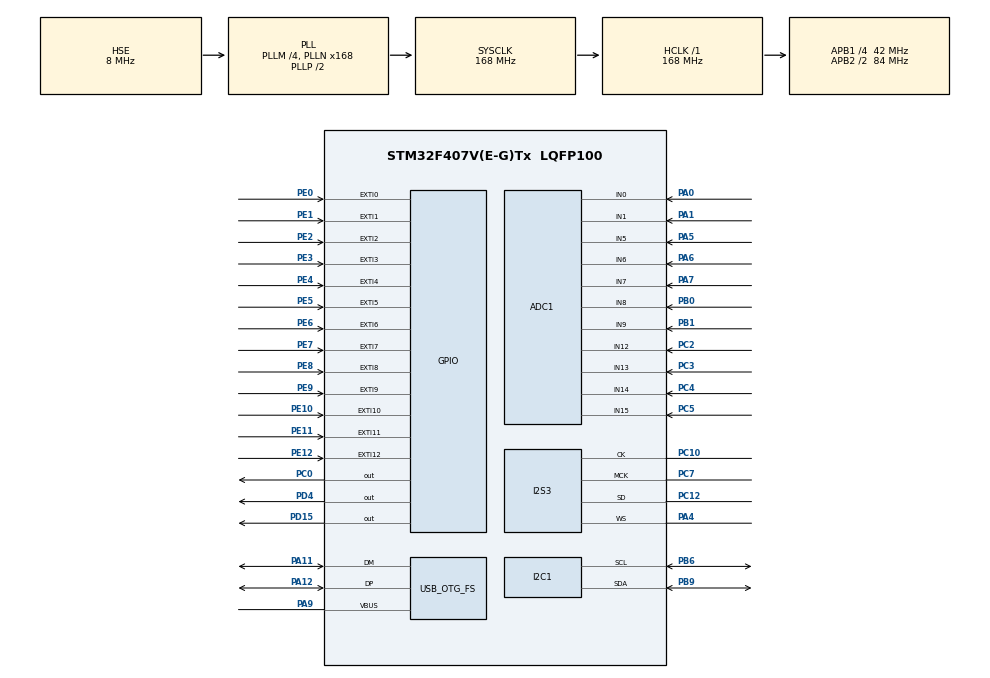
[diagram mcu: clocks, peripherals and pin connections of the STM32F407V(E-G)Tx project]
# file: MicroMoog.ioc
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ADC1.Channel-10\#ChannelRegularConversion=ADC_CHANNEL_13
ADC1.Channel-11\#ChannelRegularConversion=ADC_CHANNEL_14
ADC1.Channel-12\#ChannelRegularConversion=ADC_CHANNEL_15
ADC1.Channel-2\#ChannelRegularConversion=ADC_CHANNEL_0
ADC1.Channel-3\#ChannelRegularConversion=ADC_CHANNEL_1
ADC1.Channel-4\#ChannelRegularConversion=ADC_CHANNEL_5
ADC1.Channel-5\#ChannelRegularConversion=ADC_CHANNEL_6
ADC1.Channel-6\#ChannelRegularConversion=ADC_CHANNEL_7
ADC1.Channel-7\#ChannelRegularConversion=ADC_CHANNEL_8
ADC1.Channel-8\#ChannelRegularConversion=ADC_CHANNEL_9
ADC1.Channel-9\#ChannelRegularConversion=ADC_CHANNEL_12
ADC1.DMAContinuousRequests=ENABLE
ADC1.ExternalTrigConv=ADC_EXTERNALTRIGCONV_T2_TRGO
ADC1.NbrOfConversion=11
ADC1.NbrOfConversionFlag=1
ADC1.Rank-10\#ChannelRegularConversion=9
ADC1.Rank-11\#ChannelRegularConversion=10
ADC1.Rank-12\#ChannelRegularConversion=11
ADC1.Rank-2\#ChannelRegularConversion=1
ADC1.Rank-3\#ChannelRegularConversion=2
ADC1.Rank-4\#ChannelRegularConversion=3
ADC1.Rank-5\#ChannelRegularConversion=4
ADC1.Rank-6\#ChannelRegularConversion=5
ADC1.Rank-7\#ChannelRegularConversion=6
ADC1.Rank-8\#ChannelRegularConversion=7
ADC1.Rank-9\#ChannelRegularConversion=8
ADC1.SamplingTime-10\#ChannelRegularConversion=ADC_SAMPLETIME_144CYCLES
ADC1.SamplingTime-11\#ChannelRegularConversion=ADC_SAMPLETIME_144CYCLES
ADC1.SamplingTime-12\#ChannelRegularConversion=ADC_SAMPLETIME_144CYCLES
ADC1.SamplingTime-2\#ChannelRegularConversion=ADC_SAMPLETIME_144CYCLES
ADC1.SamplingTime-3\#ChannelRegularConversion=ADC_SAMPLETIME_144CYCLES
ADC1.SamplingTime-4\#ChannelRegularConversion=ADC_SAMPLETIME_144CYCLES
ADC1.SamplingTime-5\#ChannelRegularConversion=ADC_SAMPLETIME_144CYCLES
ADC1.SamplingTime-6\#ChannelRegularConversion=ADC_SAMPLETIME_144CYCLES
ADC1.SamplingTime-7\#ChannelRegularConversion=ADC_SAMPLETIME_144CYCLES
ADC1.SamplingTime-8\#ChannelRegularConversion=ADC_SAMPLETIME_144CYCLES
ADC1.SamplingTime-9\#ChannelRegularConversion=ADC_SAMPLETIME_144CYCLES
ADC1.ScanConvMode=ENABLE
ADC1.master=1
Dma.ADC1.1.Direction=DMA_PERIPH_TO_MEMORY
Dma.ADC1.1.FIFOMode=DMA_FIFOMODE_DISABLE
Dma.ADC1.1.Instance=DMA2_Stream0
Dma.ADC1.1.MemDataAlignment=DMA_MDATAALIGN_HALFWORD
Dma.ADC1.1.MemInc=DMA_MINC_ENABLE
Dma.ADC1.1.Mode=DMA_CIRCULAR
Dma.ADC1.1.PeriphDataAlignment=DMA_PDATAALIGN_HALFWORD
Dma.ADC1.1.PeriphInc=DMA_PINC_DISABLE
Dma.ADC1.1.Priority=DMA_PRIORITY_LOW
Dma.Request0=SPI3_TX
Dma.Request1=ADC1
Dma.SPI3_TX.0.Direction=DMA_MEMORY_TO_PERIPH
Dma.SPI3_TX.0.FIFOMode=DMA_FIFOMODE_DISABLE
Dma.SPI3_TX.0.Instance=DMA1_Stream5
Dma.SPI3_TX.0.MemDataAlignment=DMA_MDATAALIGN_HALFWORD
Dma.SPI3_TX.0.MemInc=DMA_MINC_ENABLE
Dma.SPI3_TX.0.Mode=DMA_CIRCULAR
Dma.SPI3_TX.0.PeriphDataAlignment=DMA_PDATAALIGN_HALFWORD
Dma.SPI3_TX.0.PeriphInc=DMA_PINC_DISABLE
Dma.SPI3_TX.0.Priority=DMA_PRIORITY_VERY_HIGH
I2S3.AudioFreq=I2S_AUDIOFREQ_48K
I2S3.DataFormat=I2S_DATAFORMAT_16B
I2S3.ErrorAudioFreq=1.72 %
I2S3.FullDuplexMode=I2S_FULLDUPLEXMODE_DISABLE
I2S3.Instance=SPI$Index
I2S3.RealAudioFreq=48.828 KHz
I2S3.Standard=I2S_STANDARD_PHILIPS
I2S3.VirtualMode=I2S_MODE_MASTER
Mcu.Family=STM32F4
Mcu.Name=STM32F407V(E-G)Tx
Mcu.Package=LQFP100
NVIC.DMA1_Stream5_IRQn=true\:0\:0\:true\:false\:true\:false\:true\:true
NVIC.DMA2_Stream0_IRQn=true\:0\:0\:false\:false\:true\:false\:true\:true
NVIC.EXTI0_IRQn=true\:0\:0\:false\:false\:true\:true\:true\:true
NVIC.EXTI15_10_IRQn=true\:0\:0\:false\:false\:true\:true\:true\:true
NVIC.EXTI1_IRQn=true\:0\:0\:false\:false\:true\:true\:true\:true
NVIC.EXTI2_IRQn=true\:0\:0\:false\:false\:true\:true\:true\:true
NVIC.EXTI3_IRQn=true\:0\:0\:false\:false\:true\:true\:true\:true
NVIC.EXTI4_IRQn=true\:0\:0\:false\:false\:true\:true\:true\:true
NVIC.EXTI9_5_IRQn=true\:0\:0\:false\:false\:true\:true\:true\:true
NVIC.OTG_FS_IRQn=true\:0\:0\:true\:false\:true\:true\:true\:true
NVIC.PriorityGroup=NVIC_PRIORITYGROUP_4
PA0-WKUP.Signal=ADCx_IN0
PA1.Signal=ADCx_IN1
PA11.Mode=Host_Only
PA11.Signal=USB_OTG_FS_DM
PA12.Mode=Host_Only
PA12.Signal=USB_OTG_FS_DP
PA2.Signal=USART2_TX
PA3.Signal=USART2_RX
PA4.Mode=Half_Duplex_Master
PA4.Signal=I2S3_WS
PA5.Signal=ADCx_IN5
PA6.Signal=ADCx_IN6
PA7.Signal=ADCx_IN7
PA9.Mode=Activate_VBUS
PA9.Signal=USB_OTG_FS_VBUS
PB0.Signal=ADCx_IN8
PB1.Signal=ADCx_IN9
PB6.Mode=I2C
PB6.Signal=I2C1_SCL
PB9.Mode=I2C
PB9.Signal=I2C1_SDA
PC0.Signal=GPIO_Output
PC10.Mode=Half_Duplex_Master
PC10.Signal=I2S3_CK
PC12.Mode=Half_Duplex_Master
PC12.Signal=I2S3_SD
PC2.Signal=ADCx_IN12
PC3.Signal=ADCx_IN13
PC4.Signal=ADCx_IN14
PC5.Signal=ADCx_IN15
PC7.Mode=Master_Clock_Activated
PC7.Signal=I2S3_MCK
PD15.Signal=GPIO_Output
PD4.Signal=GPIO_Output
PE0.GPIO_ModeDefaultEXTI=GPIO_MODE_IT_RISING_FALLING
PE0.Signal=GPXTI0
PE1.GPIO_ModeDefaultEXTI=GPIO_MODE_IT_RISING_FALLING
PE1.Signal=GPXTI1
PE10.GPIO_ModeDefaultEXTI=GPIO_MODE_IT_RISING_FALLING
PE10.Signal=GPXTI10
PE11.GPIO_ModeDefaultEXTI=GPIO_MODE_IT_RISING_FALLING
PE11.Signal=GPXTI11
PE12.GPIO_ModeDefaultEXTI=GPIO_MODE_IT_RISING_FALLING
PE12.Signal=GPXTI12
PE2.GPIO_ModeDefaultEXTI=GPIO_MODE_IT_RISING_FALLING
PE2.Signal=GPXTI2
PE3.GPIO_ModeDefaultEXTI=GPIO_MODE_IT_RISING_FALLING
PE3.Signal=GPXTI3
PE4.GPIO_ModeDefaultEXTI=GPIO_MODE_IT_RISING_FALLING
PE4.Signal=GPXTI4
PE5.GPIO_ModeDefaultEXTI=GPIO_MODE_IT_RISING_FALLING
PE5.Signal=GPXTI5
PE6.GPIO_ModeDefaultEXTI=GPIO_MODE_IT_RISING_FALLING
PE6.Signal=GPXTI6
PE7.GPIO_ModeDefaultEXTI=GPIO_MODE_IT_RISING_FALLING
PE7.Signal=GPXTI7
PE8.GPIO_ModeDefaultEXTI=GPIO_MODE_IT_RISING_FALLING
PE8.Signal=GPXTI8
PE9.GPIO_ModeDefaultEXTI=GPIO_MODE_IT_RISING_FALLING
PE9.Signal=GPXTI9
PH0-OSC_IN.Mode=HSE-External-Oscillator
PH0-OSC_IN.Signal=RCC_OSC_IN
PH1-OSC_OUT.Mode=HSE-External-Oscillator
PH1-OSC_OUT.Signal=RCC_OSC_OUT
ProjectManager.HeapSize=0x200
ProjectManager.StackSize=0x400
ProjectManager.TargetToolchain=STM32CubeIDE
RCC.48MHZClocksFreq_Value=48000000
RCC.AHBFreq_Value=168000000
RCC.APB1CLKDivider=RCC_HCLK_DIV4
RCC.APB1Freq_Value=42000000
RCC.APB1TimFreq_Value=84000000
RCC.APB2CLKDivider=RCC_HCLK_DIV2
RCC.APB2Freq_Value=84000000
RCC.APB2TimFreq_Value=168000000
RCC.CortexFreq_Value=168000000
RCC.HCLKFreq_Value=168000000
RCC.HSE_VALUE=8000000
RCC.HSI_VALUE=16000000
RCC.LSE_VALUE=32768
RCC.PLLI2SN=50
RCC.PLLM=4
RCC.PLLN=168
RCC.PLLQ=7
RCC.SYSCLKFreq_VALUE=168000000
RCC.SYSCLKSource=RCC_SYSCLKSOURCE_PLLCLK
RCC.VCOOutputFreq_Value=336000000
SH.ADCx_IN0.0=ADC1_IN0,IN0
SH.ADCx_IN1.0=ADC1_IN1,IN1
SH.ADCx_IN12.0=ADC1_IN12,IN12
SH.ADCx_IN13.0=ADC1_IN13,IN13
SH.ADCx_IN14.0=ADC1_IN14,IN14
SH.ADCx_IN15.0=ADC1_IN15,IN15
SH.ADCx_IN5.0=ADC1_IN5,IN5
SH.ADCx_IN6.0=ADC1_IN6,IN6
SH.ADCx_IN7.0=ADC1_IN7,IN7
SH.ADCx_IN8.0=ADC1_IN8,IN8
SH.ADCx_IN9.0=ADC1_IN9,IN9
TIM1.Period=19999
TIM1.Prescaler=2099
TIM2.Channel-PWM\ Generation1\ No\ Output=TIM_CHANNEL_1
TIM2.Period=99-1
TIM2.Prescaler=33600-1
TIM2.TIM_MasterOutputTrigger=TIM_TRGO_UPDATE
USB_HOST.BSP.number=1
USB_HOST.USBH_HandleTypeDef-AUDIO_FS=hUsbHostFS
USB_HOST.VirtualModeFS=Audio
USB_HOST0.BSP.STBoard=false
USB_HOST0.BSP.api=Unknown
USB_HOST0.BSP.instance=PD4
USB_HOST0.BSP.ip=GPIO
USB_HOST0.BSP.mode=Output
USB_HOST0.BSP.name=Drive_VBUS_FS
USB_HOST0.BSP.solution=PD4
USB_OTG_FS.VirtualMode=Host_Only
USB_OTG_FS.phy_itface=HCD_PHY_EMBEDDED
USB_OTG_FS.speed=HCD_SPEED_FULL
VP_TIM1_VS_ClockSourceINT.Mode=Internal
VP_TIM2_VS_ClockSourceINT.Mode=Internal
VP_TIM2_VS_no_output1.Mode=PWM Generation1 No Output
VP_USB_HOST_VS_USB_HOST_AUDIO_FS.Mode=AUDIO_FS
board=custom

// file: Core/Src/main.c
/* USER CODE BEGIN Header */
/**
  ******************************************************************************
  * @file           : main.c
  * @brief          : Main program body
  ******************************************************************************
  * @attention
  *
  * Copyright (c) 2023 STMicroelectronics.
  * All rights reserved.
  *
  * This software is licensed under terms that can be found in the LICENSE file
  * in the root directory of this software component.
  * If no LICENSE file comes with this software, it is provided AS-IS.
  *
  ******************************************************************************
  */
/* USER CODE END Header */
#include "main.h"
#include "usb_host.h"

/* USER CODE BEGIN Includes */
#include "dsp/synthesizer.h"
#include "utils/midi_decoder.h"
#include "driver/dac_driver.h"

/* USER CODE END Includes */

/* USER CODE BEGIN PD */
#define MIDI_BUFF_SIZE 		64 	/* USB MIDI buffer : max received data 64 bytes */

/* USER CODE END PD */

ADC_HandleTypeDef hadc1;
DMA_HandleTypeDef hdma_adc1;

I2C_HandleTypeDef hi2c1;

I2S_HandleTypeDef hi2s3;
DMA_HandleTypeDef hdma_spi3_tx;

TIM_HandleTypeDef htim1;
TIM_HandleTypeDef htim2;

/* USER CODE BEGIN PV */

volatile int endTime = 0; // Timestamp finale
volatile int startTime = 0; // Ottenere il timestamp all'inizio del trasferimento (ad esempio, inizio della funzione di trasferimento I2S)
volatile int elapsedTime = 0;
volatile int interrupt = 0;
volatile int half = 0;
volatile int full = 0;
volatile int process = 0;
volatile int adc_interrupt = 0;

uint8_t dataReadyFlag = 0;
/* USER CODE END PV */

void SystemClock_Config(void);
static void MX_GPIO_Init(void);
static void MX_DMA_Init(void);
static void MX_I2S3_Init(void);
static void MX_TIM2_Init(void);
static void MX_I2C1_Init(void);
static void MX_ADC1_Init(void);
static void MX_TIM1_Init(void);
void MX_USB_HOST_Process(void);

/* USER CODE BEGIN PFP */
void GPIO_Scanner();
void HAL_ADC_ConvCpltCallback(ADC_HandleTypeDef* hadc);
void USBH_MIDI_ReceiveCallback(USBH_HandleTypeDef *phost);
/* USER CODE END PFP */

/* USER CODE BEGIN 0 */

// Synth structure
Synthesizer synth;

// DAC structure
CS43L22 dac;

// ADC Variables
uint16_t adc_values[11] = {0};										// Store the adc raw values
int adc_channel_count = sizeof(adc_values)/sizeof(adc_values[0]);	    // Store the number of adc channels (array length)

// MIDI Variables
uint8_t midi_rx_buffer[MIDI_BUFF_SIZE]; // MIDI reception buffer

// Processing buffer
//float processing_buffer[I2S_BUFFER_SIZE/4] = {0};		// BUFFER_SIZE/4
int16_t i2s_buffer[I2S_BUFFER_SIZE] = {0};
static volatile int16_t *buf_ptr = &i2s_buffer[0];

/* USER CODE END 0 */

int main(void)
{

  /* MCU Configuration--------------------------------------------------------*/

  /* Reset of all peripherals, Initializes the Flash interface and the Systick. */
  HAL_Init();

  /* Configure the system clock */
  SystemClock_Config();

  /* Initialize all configured peripherals */
  MX_GPIO_Init();
  MX_DMA_Init();
  MX_I2S3_Init();
  MX_TIM2_Init();
  MX_I2C1_Init();
  MX_ADC1_Init();
  MX_TIM1_Init();
  MX_USB_HOST_Init();
  /* USER CODE BEGIN 2 */

  // Setup del Synth
  setupSynthesizer(&synth, SAMPLE_RATE);

  CS43L22_Init(&dac, &hi2c1);
  HAL_Delay(50);

  // Initialize the ADC DMA conversion (and the timer)
  HAL_ADC_Start_DMA(&hadc1, (uint32_t *) adc_values , adc_channel_count);
  HAL_TIM_Base_Start(&htim2);

  // Trasmission to the DAC
  HAL_I2S_Transmit_DMA(&hi2s3, (uint16_t *)i2s_buffer, I2S_BUFFER_SIZE);

  // Scanning the GPIO
  GPIO_Scanner();

  /* USER CODE END 2 */

  /* Infinite loop */
	while (1) {
    MX_USB_HOST_Process();

    /* USER CODE BEGIN 3 */
		MIDI_UserProcess(midi_rx_buffer);
/*
		if(dataReadyFlag == 1) {
			processData();
			dataReadyFlag = 0;
		}
*/
	}

  /* USER CODE END 3 */
}

void SystemClock_Config(void)
{
  RCC_OscInitTypeDef RCC_OscInitStruct = {0};
  RCC_ClkInitTypeDef RCC_ClkInitStruct = {0};

  /** Configure the main internal regulator output voltage
  */
  __HAL_RCC_PWR_CLK_ENABLE();
  __HAL_PWR_VOLTAGESCALING_CONFIG(PWR_REGULATOR_VOLTAGE_SCALE1);

  /** Initializes the RCC Oscillators according to the specified parameters
  * in the RCC_OscInitTypeDef structure.
  */
  RCC_OscInitStruct.OscillatorType = RCC_OSCILLATORTYPE_HSE;
  RCC_OscInitStruct.HSEState = RCC_HSE_ON;
  RCC_OscInitStruct.PLL.PLLState = RCC_PLL_ON;
  RCC_OscInitStruct.PLL.PLLSource = RCC_PLLSOURCE_HSE;
  RCC_OscInitStruct.PLL.PLLM = 4;
  RCC_OscInitStruct.PLL.PLLN = 168;
  RCC_OscInitStruct.PLL.PLLP = RCC_PLLP_DIV2;
  RCC_OscInitStruct.PLL.PLLQ = 7;
  if (HAL_RCC_OscConfig(&RCC_OscInitStruct) != HAL_OK)
  {
    Error_Handler();
  }

  /** Initializes the CPU, AHB and APB buses clocks
  */
  RCC_ClkInitStruct.ClockType = RCC_CLOCKTYPE_HCLK|RCC_CLOCKTYPE_SYSCLK
                              |RCC_CLOCKTYPE_PCLK1|RCC_CLOCKTYPE_PCLK2;
  RCC_ClkInitStruct.SYSCLKSource = RCC_SYSCLKSOURCE_PLLCLK;
  RCC_ClkInitStruct.AHBCLKDivider = RCC_SYSCLK_DIV1;
  RCC_ClkInitStruct.APB1CLKDivider = RCC_HCLK_DIV4;
  RCC_ClkInitStruct.APB2CLKDivider = RCC_HCLK_DIV2;

  if (HAL_RCC_ClockConfig(&RCC_ClkInitStruct, FLASH_LATENCY_5) != HAL_OK)
  {
    Error_Handler();
  }
}

static void MX_ADC1_Init(void)
{

  ADC_ChannelConfTypeDef sConfig = {0};

  /** Configure the global features of the ADC (Clock, Resolution, Data Alignment and number of conversion)
  */
  hadc1.Instance = ADC1;
  hadc1.Init.ClockPrescaler = ADC_CLOCK_SYNC_PCLK_DIV4;
  hadc1.Init.Resolution = ADC_RESOLUTION_12B;
  hadc1.Init.ScanConvMode = ENABLE;
  hadc1.Init.ContinuousConvMode = DISABLE;
  hadc1.Init.DiscontinuousConvMode = DISABLE;
  hadc1.Init.ExternalTrigConvEdge = ADC_EXTERNALTRIGCONVEDGE_RISING;
  hadc1.Init.ExternalTrigConv = ADC_EXTERNALTRIGCONV_T2_TRGO;
  hadc1.Init.DataAlign = ADC_DATAALIGN_RIGHT;
  hadc1.Init.NbrOfConversion = 11;
  hadc1.Init.DMAContinuousRequests = ENABLE;
  hadc1.Init.EOCSelection = ADC_EOC_SINGLE_CONV;
  if (HAL_ADC_Init(&hadc1) != HAL_OK)
  {
    Error_Handler();
  }

  /** Configure for the selected ADC regular channel its corresponding rank in the sequencer and its sample time.
  */
  sConfig.Channel = ADC_CHANNEL_0;
  sConfig.Rank = 1;
  sConfig.SamplingTime = ADC_SAMPLETIME_144CYCLES;
  if (HAL_ADC_ConfigChannel(&hadc1, &sConfig) != HAL_OK)
  {
    Error_Handler();
  }

  /** Configure for the selected ADC regular channel its corresponding rank in the sequencer and its sample time.
  */
  sConfig.Channel = ADC_CHANNEL_1;
  sConfig.Rank = 2;
  if (HAL_ADC_ConfigChannel(&hadc1, &sConfig) != HAL_OK)
  {
    Error_Handler();
  }

  /** Configure for the selected ADC regular channel its corresponding rank in the sequencer and its sample time.
  */
  sConfig.Channel = ADC_CHANNEL_5;
  sConfig.Rank = 3;
  if (HAL_ADC_ConfigChannel(&hadc1, &sConfig) != HAL_OK)
  {
    Error_Handler();
  }

  /** Configure for the selected ADC regular channel its corresponding rank in the sequencer and its sample time.
  */
  sConfig.Channel = ADC_CHANNEL_6;
  sConfig.Rank = 4;
  if (HAL_ADC_ConfigChannel(&hadc1, &sConfig) != HAL_OK)
  {
    Error_Handler();
  }

  /** Configure for the selected ADC regular channel its corresponding rank in the sequencer and its sample time.
  */
  sConfig.Channel = ADC_CHANNEL_7;
  sConfig.Rank = 5;
  if (HAL_ADC_ConfigChannel(&hadc1, &sConfig) != HAL_OK)
  {
    Error_Handler();
  }

  /** Configure for the selected ADC regular channel its corresponding rank in the sequencer and its sample time.
  */
  sConfig.Channel = ADC_CHANNEL_8;
  sConfig.Rank = 6;
  if (HAL_ADC_ConfigChannel(&hadc1, &sConfig) != HAL_OK)
  {
    Error_Handler();
  }

  /** Configure for the selected ADC regular channel its corresponding rank in the sequencer and its sample time.
  */
  sConfig.Channel = ADC_CHANNEL_9;
  sConfig.Rank = 7;
  if (HAL_ADC_ConfigChannel(&hadc1, &sConfig) != HAL_OK)
  {
    Error_Handler();
  }

  /** Configure for the selected ADC regular channel its corresponding rank in the sequencer and its sample time.
  */
  sConfig.Channel = ADC_CHANNEL_12;
  sConfig.Rank = 8;
  if (HAL_ADC_ConfigChannel(&hadc1, &sConfig) != HAL_OK)
  {
    Error_Handler();
  }

  /** Configure for the selected ADC regular channel its corresponding rank in the sequencer and its sample time.
  */
  sConfig.Channel = ADC_CHANNEL_13;
  sConfig.Rank = 9;
  if (HAL_ADC_ConfigChannel(&hadc1, &sConfig) != HAL_OK)
  {
    Error_Handler();
  }

  /** Configure for the selected ADC regular channel its corresponding rank in the sequencer and its sample time.
  */
  sConfig.Channel = ADC_CHANNEL_14;
  sConfig.Rank = 10;
  if (HAL_ADC_ConfigChannel(&hadc1, &sConfig) != HAL_OK)
  {
    Error_Handler();
  }

  /** Configure for the selected ADC regular channel its corresponding rank in the sequencer and its sample time.
  */
  sConfig.Channel = ADC_CHANNEL_15;
  sConfig.Rank = 11;
  if (HAL_ADC_ConfigChannel(&hadc1, &sConfig) != HAL_OK)
  {
    Error_Handler();
  }

}

static void MX_I2C1_Init(void)
{

  hi2c1.Instance = I2C1;
  hi2c1.Init.ClockSpeed = 100000;
  hi2c1.Init.DutyCycle = I2C_DUTYCYCLE_2;
  hi2c1.Init.OwnAddress1 = 0;
  hi2c1.Init.AddressingMode = I2C_ADDRESSINGMODE_7BIT;
  hi2c1.Init.DualAddressMode = I2C_DUALADDRESS_DISABLE;
  hi2c1.Init.OwnAddress2 = 0;
  hi2c1.Init.GeneralCallMode = I2C_GENERALCALL_DISABLE;
  hi2c1.Init.NoStretchMode = I2C_NOSTRETCH_DISABLE;
  if (HAL_I2C_Init(&hi2c1) != HAL_OK)
  {
    Error_Handler();
  }

}

static void MX_I2S3_Init(void)
{

  hi2s3.Instance = SPI3;
  hi2s3.Init.Mode = I2S_MODE_MASTER_TX;
  hi2s3.Init.Standard = I2S_STANDARD_PHILIPS;
  hi2s3.Init.DataFormat = I2S_DATAFORMAT_16B;
  hi2s3.Init.MCLKOutput = I2S_MCLKOUTPUT_ENABLE;
  hi2s3.Init.AudioFreq = I2S_AUDIOFREQ_48K;
  hi2s3.Init.CPOL = I2S_CPOL_LOW;
  hi2s3.Init.ClockSource = I2S_CLOCK_PLL;
  hi2s3.Init.FullDuplexMode = I2S_FULLDUPLEXMODE_DISABLE;
  if (HAL_I2S_Init(&hi2s3) != HAL_OK)
  {
    Error_Handler();
  }

}

static void MX_TIM1_Init(void)
{

  TIM_ClockConfigTypeDef sClockSourceConfig = {0};
  TIM_MasterConfigTypeDef sMasterConfig = {0};

  htim1.Instance = TIM1;
  htim1.Init.Prescaler = 2099;
  htim1.Init.CounterMode = TIM_COUNTERMODE_UP;
  htim1.Init.Period = 19999;
  htim1.Init.ClockDivision = TIM_CLOCKDIVISION_DIV1;
  htim1.Init.RepetitionCounter = 0;
  htim1.Init.AutoReloadPreload = TIM_AUTORELOAD_PRELOAD_DISABLE;
  if (HAL_TIM_Base_Init(&htim1) != HAL_OK)
  {
    Error_Handler();
  }
  sClockSourceConfig.ClockSource = TIM_CLOCKSOURCE_INTERNAL;
  if (HAL_TIM_ConfigClockSource(&htim1, &sClockSourceConfig) != HAL_OK)
  {
    Error_Handler();
  }
  sMasterConfig.MasterOutputTrigger = TIM_TRGO_RESET;
  sMasterConfig.MasterSlaveMode = TIM_MASTERSLAVEMODE_DISABLE;
  if (HAL_TIMEx_MasterConfigSynchronization(&htim1, &sMasterConfig) != HAL_OK)
  {
    Error_Handler();
  }

}

static void MX_TIM2_Init(void)
{

  TIM_ClockConfigTypeDef sClockSourceConfig = {0};
  TIM_MasterConfigTypeDef sMasterConfig = {0};
  TIM_OC_InitTypeDef sConfigOC = {0};

  htim2.Instance = TIM2;
  htim2.Init.Prescaler = 33600-1;
  htim2.Init.CounterMode = TIM_COUNTERMODE_UP;
  htim2.Init.Period = 99-1;
  htim2.Init.ClockDivision = TIM_CLOCKDIVISION_DIV1;
  htim2.Init.AutoReloadPreload = TIM_AUTORELOAD_PRELOAD_DISABLE;
  if (HAL_TIM_Base_Init(&htim2) != HAL_OK)
  {
    Error_Handler();
  }
  sClockSourceConfig.ClockSource = TIM_CLOCKSOURCE_INTERNAL;
  if (HAL_TIM_ConfigClockSource(&htim2, &sClockSourceConfig) != HAL_OK)
  {
    Error_Handler();
  }
  if (HAL_TIM_PWM_Init(&htim2) != HAL_OK)
  {
    Error_Handler();
  }
  sMasterConfig.MasterOutputTrigger = TIM_TRGO_UPDATE;
  sMasterConfig.MasterSlaveMode = TIM_MASTERSLAVEMODE_DISABLE;
  if (HAL_TIMEx_MasterConfigSynchronization(&htim2, &sMasterConfig) != HAL_OK)
  {
    Error_Handler();
  }
  sConfigOC.OCMode = TIM_OCMODE_PWM1;
  sConfigOC.Pulse = 0;
  sConfigOC.OCPolarity = TIM_OCPOLARITY_HIGH;
  sConfigOC.OCFastMode = TIM_OCFAST_DISABLE;
  if (HAL_TIM_PWM_ConfigChannel(&htim2, &sConfigOC, TIM_CHANNEL_1) != HAL_OK)
  {
    Error_Handler();
  }

}

static void MX_DMA_Init(void)
{

  /* DMA controller clock enable */
  __HAL_RCC_DMA1_CLK_ENABLE();
  __HAL_RCC_DMA2_CLK_ENABLE();

  /* DMA interrupt init */
  /* DMA1_Stream5_IRQn interrupt configuration */
  HAL_NVIC_SetPriority(DMA1_Stream5_IRQn, 0, 0);
  HAL_NVIC_EnableIRQ(DMA1_Stream5_IRQn);
  /* DMA2_Stream0_IRQn interrupt configuration */
  HAL_NVIC_SetPriority(DMA2_Stream0_IRQn, 0, 0);
  HAL_NVIC_EnableIRQ(DMA2_Stream0_IRQn);

}

static void MX_GPIO_Init(void)
{
  GPIO_InitTypeDef GPIO_InitStruct = {0};

  /* GPIO Ports Clock Enable */
  __HAL_RCC_GPIOE_CLK_ENABLE();
  __HAL_RCC_GPIOH_CLK_ENABLE();
  __HAL_RCC_GPIOC_CLK_ENABLE();
  __HAL_RCC_GPIOA_CLK_ENABLE();
  __HAL_RCC_GPIOB_CLK_ENABLE();
  __HAL_RCC_GPIOD_CLK_ENABLE();

  /*Configure GPIO pin Output Level */
  HAL_GPIO_WritePin(GPIOC, GPIO_PIN_0, GPIO_PIN_RESET);

  /*Configure GPIO pin Output Level */
  HAL_GPIO_WritePin(GPIOD, GPIO_PIN_15|GPIO_PIN_4, GPIO_PIN_RESET);

  /*Configure GPIO pins : PE2 PE3 PE4 PE5
                           PE6 PE7 PE8 PE9
                           PE10 PE11 PE12 PE0
                           PE1 */
  GPIO_InitStruct.Pin = GPIO_PIN_2|GPIO_PIN_3|GPIO_PIN_4|GPIO_PIN_5
                          |GPIO_PIN_6|GPIO_PIN_7|GPIO_PIN_8|GPIO_PIN_9
                          |GPIO_PIN_10|GPIO_PIN_11|GPIO_PIN_12|GPIO_PIN_0
                          |GPIO_PIN_1;
  GPIO_InitStruct.Mode = GPIO_MODE_IT_RISING_FALLING;
  GPIO_InitStruct.Pull = GPIO_NOPULL;
  HAL_GPIO_Init(GPIOE, &GPIO_InitStruct);

  /*Configure GPIO pin : PC0 */
  GPIO_InitStruct.Pin = GPIO_PIN_0;
  GPIO_InitStruct.Mode = GPIO_MODE_OUTPUT_PP;
  GPIO_InitStruct.Pull = GPIO_NOPULL;
  GPIO_InitStruct.Speed = GPIO_SPEED_FREQ_LOW;
  HAL_GPIO_Init(GPIOC, &GPIO_InitStruct);

  /*Configure GPIO pins : PA2 PA3 */
  GPIO_InitStruct.Pin = GPIO_PIN_2|GPIO_PIN_3;
  GPIO_InitStruct.Mode = GPIO_MODE_AF_PP;
  GPIO_InitStruct.Pull = GPIO_NOPULL;
  GPIO_InitStruct.Speed = GPIO_SPEED_FREQ_VERY_HIGH;
  GPIO_InitStruct.Alternate = GPIO_AF7_USART2;
  HAL_GPIO_Init(GPIOA, &GPIO_InitStruct);

  /*Configure GPIO pins : PD15 PD4 */
  GPIO_InitStruct.Pin = GPIO_PIN_15|GPIO_PIN_4;
  GPIO_InitStruct.Mode = GPIO_MODE_OUTPUT_PP;
  GPIO_InitStruct.Pull = GPIO_NOPULL;
  GPIO_InitStruct.Speed = GPIO_SPEED_FREQ_LOW;
  HAL_GPIO_Init(GPIOD, &GPIO_InitStruct);

  /* EXTI interrupt init*/
  HAL_NVIC_SetPriority(EXTI0_IRQn, 0, 0);
  HAL_NVIC_EnableIRQ(EXTI0_IRQn);

  HAL_NVIC_SetPriority(EXTI1_IRQn, 0, 0);
  HAL_NVIC_EnableIRQ(EXTI1_IRQn);

  HAL_NVIC_SetPriority(EXTI2_IRQn, 0, 0);
  HAL_NVIC_EnableIRQ(EXTI2_IRQn);

  HAL_NVIC_SetPriority(EXTI3_IRQn, 0, 0);
  HAL_NVIC_EnableIRQ(EXTI3_IRQn);

  HAL_NVIC_SetPriority(EXTI4_IRQn, 0, 0);
  HAL_NVIC_EnableIRQ(EXTI4_IRQn);

  HAL_NVIC_SetPriority(EXTI9_5_IRQn, 0, 0);
  HAL_NVIC_EnableIRQ(EXTI9_5_IRQn);

  HAL_NVIC_SetPriority(EXTI15_10_IRQn, 0, 0);
  HAL_NVIC_EnableIRQ(EXTI15_10_IRQn);

}

/* USER CODE BEGIN 4 */

// Scan the GPIO at the very start of the program
void GPIO_Scanner() {

	// Waveform Osc1
	// setOscWaveform(&synth->osc1, 0);
	setOscWaveform(&synth.osc1, 1);
	// setOscWaveform(&synth->osc1, 2);
	// Waveform Osc2
	//setOscWaveform(&synth->osc2, 0);
	setOscWaveform(&synth.osc2, 1);
	//setOscWaveform(&synth->osc2, 2);

	setMuteOsc1(&synth.mixer, 1);
	setMuteOsc2(&synth.mixer, 0);
	synth.mute_osc1 = 1;
	synth.mute_osc2 = 1;
	// LFO
	setLfoWaveform(&synth.lfo, 1);
	// Modulation
	synth.is_tremolo_mod_on = 0;
	synth.is_vibrato_mod_on = 0;
	synth.is_filter_mod_on = 0;
	// Gain
	synth.is_gain_enabled = 1;

	setMuteOsc1(&synth.mixer, HAL_GPIO_ReadPin(GPIOE, GPIO_PIN_6));
	setMuteOsc2(&synth.mixer, HAL_GPIO_ReadPin(GPIOE, GPIO_PIN_7));
	synth.mute_osc1 = HAL_GPIO_ReadPin(GPIOE, GPIO_PIN_6);
	synth.mute_osc2 = HAL_GPIO_ReadPin(GPIOE, GPIO_PIN_7);
	// LFO
	setLfoWaveform(&synth.lfo, HAL_GPIO_ReadPin(GPIOE, GPIO_PIN_8));
	// Modulation
	synth.is_tremolo_mod_on = HAL_GPIO_ReadPin(GPIOE, GPIO_PIN_9);
	synth.is_vibrato_mod_on = HAL_GPIO_ReadPin(GPIOE, GPIO_PIN_10);
	synth.is_filter_mod_on = HAL_GPIO_ReadPin(GPIOE, GPIO_PIN_11);
	// Gain
	synth.is_gain_enabled = HAL_GPIO_ReadPin(GPIOE, GPIO_PIN_12);

}

// All the weak functions are implemented here

/* Callback after a MIDI message is received */
void USBH_MIDI_ReceiveCallback(USBH_HandleTypeDef *phost)
{
	midiDecode(phost, &synth, midi_rx_buffer);
	USBH_MIDI_Receive(phost, midi_rx_buffer, MIDI_BUFF_SIZE); // Start a new reception after the conversion
}

/* Callback after an interrupt from digital source is received */
void HAL_GPIO_EXTI_Callback(uint16_t GPIO_Pin)
{
	parametersChangedDigital(&synth, GPIO_Pin);
}

/* Callback after a conversion with the ADC is completed */
void HAL_ADC_ConvCpltCallback(ADC_HandleTypeDef* hadc){
	parametersChangedAnalog(&synth, adc_values);
}

/* Callback after a trasmission of the buffer to the DAC is half-completed */
void HAL_I2S_TxHalfCpltCallback(I2S_HandleTypeDef *hi2s) {
	buf_ptr = &i2s_buffer[0];
	processData();
	//dataReadyFlag = 1;
}

/* Callback after a trasmission of the buffer to the DAC is completed */
void HAL_I2S_TxCpltCallback(I2S_HandleTypeDef *hi2s) {
	buf_ptr = &i2s_buffer[I2S_BUFFER_SIZE/2];
	processData();
	//dataReadyFlag = 1;
}

void processData() {
	getSynthAudioBlock(&synth, buf_ptr);
}

/* USER CODE END 4 */

void Error_Handler(void)
{
  __disable_irq();
  while (1)
  {
  }
}
